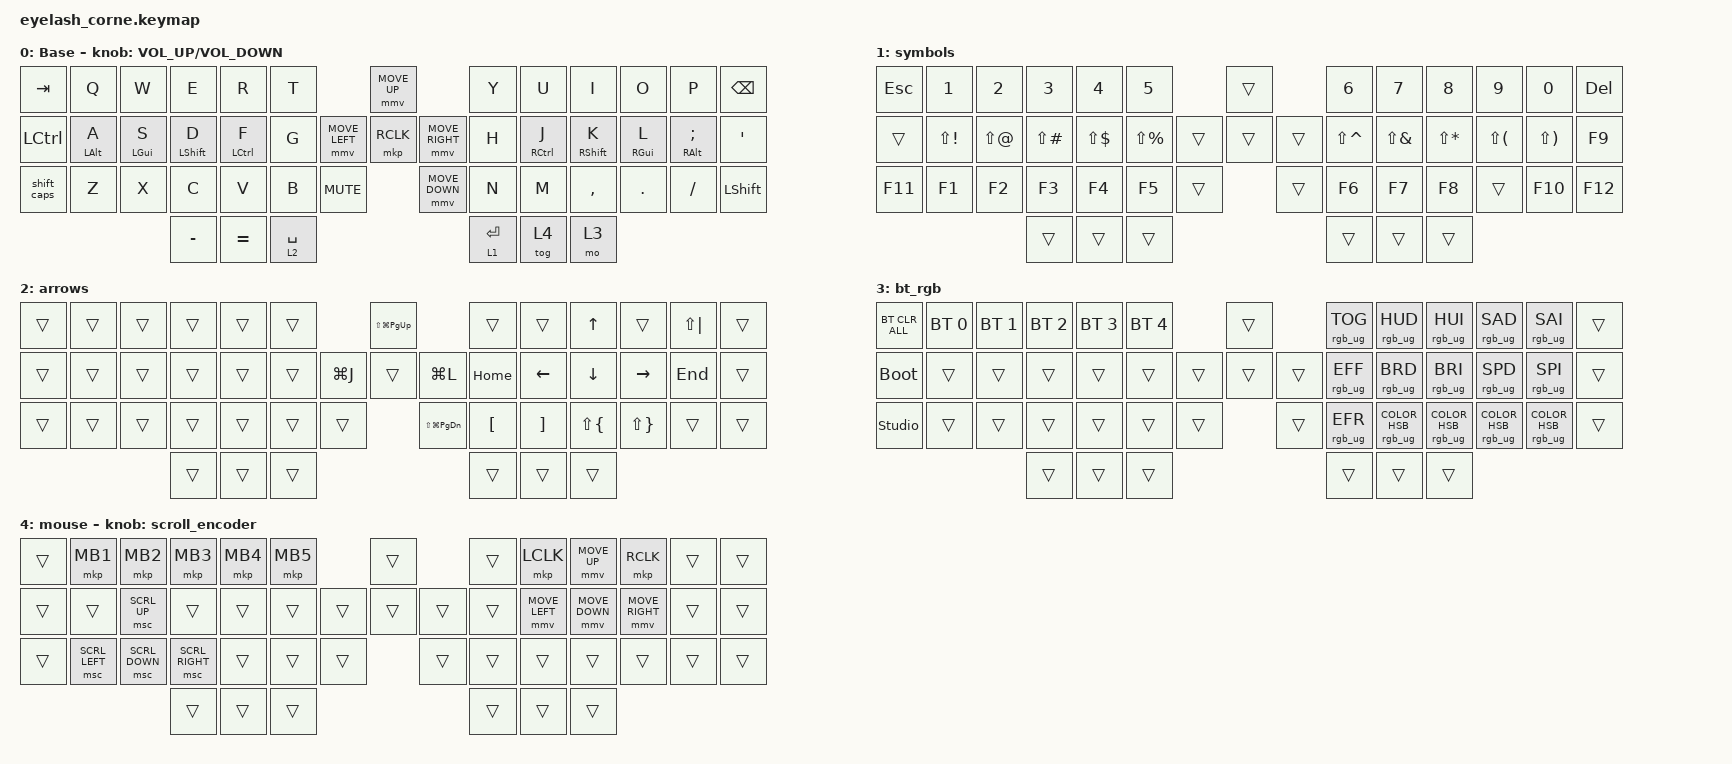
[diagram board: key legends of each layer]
#define ZMK_POINTING_DEFAULT_MOVE_VAL 1200  // 600
#define ZMK_POINTING_DEFAULT_SCRL_VAL 25   // 10

#include <input/processors.dtsi>
#include <zephyr/dt-bindings/input/input-event-codes.h>
#include <behaviors.dtsi>
#include <dt-bindings/zmk/bt.h>
#include <dt-bindings/zmk/keys.h>
#include <dt-bindings/zmk/pointing.h>
#include <dt-bindings/zmk/rgb.h>

&sensors {
    triggers-per-rotation = <15>;
};
&mmv_input_listener { input-processors = <&zip_xy_scaler 2 1>; };

&msc_input_listener { input-processors = <&zip_scroll_scaler 2 1>; };

&msc {
    acceleration-exponent = <1>;      // 0
    time-to-max-speed-ms = <100>;       // 300
    delay-ms = <0>;                   // 0
};

&mmv {
    time-to-max-speed-ms = <500>;
    acceleration-exponent = <1>;
    trigger-period-ms = <16>;
};

&soft_off { hold-time-ms = <2000>; };

/ {
    behaviors {
        shift_caps: shift_caps {
            compatible = "zmk,behavior-tap-dance";
            display-name = "Shift/Caps Lock Tap Dance";
            #binding-cells = <0>;
            bindings = <&kp LEFT_SHIFT>, <&kp CAPS>;
        };

        hrm: home_row_moS {
            compatible = "zmk,behavior-hold-tap";
            label = "HRM";
            bindings = <&kp>, <&kp>;

            #binding-cells = <2>;
            hold-trigger-key-positions = <1 2 3 4 5 7 8 9 10 11>;
            tapping-term-ms = <230>;
            quick-tap-ms = <0>;
            flavor = "tap-preferred";
        };
    };

    rgb_encoder: rgb_encoder {
        compatible = "zmk,behavior-sensor-rotate";
        #sensor-binding-cells = <0>;
        bindings = <&rgb_ug RGB_BRI>, <&rgb_ug RGB_BRD>;
    };

    scroll_encoder: scroll_encoder {
        compatible = "zmk,behavior-sensor-rotate";
        #sensor-binding-cells = <0>;
        bindings = <&msc SCRL_DOWN>, <&msc SCRL_UP>;

        tap-ms = <100>;
    };

    combos {
        compatible = "zmk,combos";

        softoff {
            bindings = <&soft_off>;
            key-positions = <1 15 29>;
        };
    };

    keymap {
        compatible = "zmk,keymap";

        default_layer {
            display-name = "Base";
            bindings = <
&kp TAB      &kp Q            &kp W            &kp E              &kp R         &kp T                                      &mmv MOVE_UP                     &kp Y        &kp U                 &kp I               &kp O             &kp P                &kp BSPC
&kp LCTRL    &hrm LEFT_ALT A  &hrm LEFT_GUI S  &hrm LEFT_SHIFT D  &hrm LCTRL F  &kp G                      &mmv MOVE_LEFT  &mkp RCLK       &mmv MOVE_RIGHT  &kp H        &hrm RIGHT_CONTROL J  &hrm RIGHT_SHIFT K  &hrm RIGHT_GUI L  &hrm RIGHT_ALT SEMI  &kp SQT
&shift_caps  &kp Z            &kp X            &kp C              &kp V         &kp B        &kp C_MUTE                    &mmv MOVE_DOWN                   &kp N        &kp M                 &kp COMMA           &kp DOT           &kp FSLH             &kp LEFT_SHIFT
                                               &kp MINUS          &kp EQUAL     &lt 2 SPACE                                                                 &lt 1 ENTER  &tog 4                &mo 3
            >;

            sensor-bindings = <&inc_dec_kp C_VOLUME_UP C_VOLUME_DOWN>;
        };

        symbol_layer {
            bindings = <
&kp ESCAPE  &kp N1        &kp N2      &kp N3         &kp N4        &kp N5                           &trans          &kp N6         &kp N7        &kp N8        &kp N9        &kp N0        &kp DELETE
&trans      &kp LS(EXCL)  &kp LS(AT)  &kp LS(POUND)  &kp LS(DLLR)  &kp LS(PRCNT)            &trans  &trans  &trans  &kp LS(CARET)  &kp LS(AMPS)  &kp LS(STAR)  &kp LS(LPAR)  &kp LS(RPAR)  &kp F9
&kp F11     &kp F1        &kp F2      &kp F3         &kp F4        &kp F5         &trans            &trans          &kp F6         &kp F7        &kp F8        &trans        &kp F10       &kp F12
                                      &trans         &trans        &trans                                           &trans         &trans        &trans
            >;

            label = "symbols";
        };

        arrow_layer {
            bindings = <
&trans  &trans  &trans  &trans  &trans  &trans                       &kp LS(LG(PAGE_UP))               &trans    &trans    &kp UP        &trans        &kp LS(PIPE)  &trans
&trans  &trans  &trans  &trans  &trans  &trans            &kp LG(J)  &trans                 &kp LG(L)  &kp HOME  &kp LEFT  &kp DOWN      &kp RIGHT     &kp END       &trans
&trans  &trans  &trans  &trans  &trans  &trans  &trans               &kp LS(LG(PAGE_DOWN))             &kp LBKT  &kp RBKT  &kp LS(LBRC)  &kp LS(RBRC)  &trans        &trans
                        &trans  &trans  &trans                                                         &trans    &trans    &trans
            >;

            label = "arrows";
        };

        bluetooth_layer {
            bindings = <
&bt BT_CLR_ALL  &bt BT_SEL 0  &bt BT_SEL 1  &bt BT_SEL 2  &bt BT_SEL 3  &bt BT_SEL 4                    &trans          &rgb_ug RGB_TOG  &rgb_ug RGB_HUD                 &rgb_ug RGB_HUI                   &rgb_ug RGB_SAD                   &rgb_ug RGB_SAI                   &trans
&bootloader     &trans        &trans        &trans        &trans        &trans                  &trans  &trans  &trans  &rgb_ug RGB_EFF  &rgb_ug RGB_BRD                 &rgb_ug RGB_BRI                   &rgb_ug RGB_SPD                   &rgb_ug RGB_SPI                   &trans
&studio_unlock  &trans        &trans        &trans        &trans        &trans        &trans            &trans          &rgb_ug RGB_EFR  &rgb_ug RGB_COLOR_HSB(0,93,48)  &rgb_ug RGB_COLOR_HSB(220,69,50)  &rgb_ug RGB_COLOR_HSB(178,73,43)  &rgb_ug RGB_COLOR_HSB(116,88,51)  &trans
                                            &trans        &trans        &trans                                          &trans           &trans                          &trans
            >;

            label = "bt_rgb";
        };

        mouse_layer {
            bindings = <
&trans  &mkp MB1        &mkp MB2        &mkp MB3         &mkp MB4  &mkp MB5                    &trans          &trans  &mkp LCLK       &mmv MOVE_UP    &mkp RCLK        &trans  &trans
&trans  &trans          &msc SCRL_UP    &trans           &trans    &trans              &trans  &trans  &trans  &trans  &mmv MOVE_LEFT  &mmv MOVE_DOWN  &mmv MOVE_RIGHT  &trans  &trans
&trans  &msc SCRL_LEFT  &msc SCRL_DOWN  &msc SCRL_RIGHT  &trans    &trans    &trans            &trans          &trans  &trans          &trans          &trans           &trans  &trans
                                        &trans           &trans    &trans                                      &trans  &trans          &trans
            >;

            sensor-bindings = <&scroll_encoder>;
            label = "mouse";
        };
    };
};
